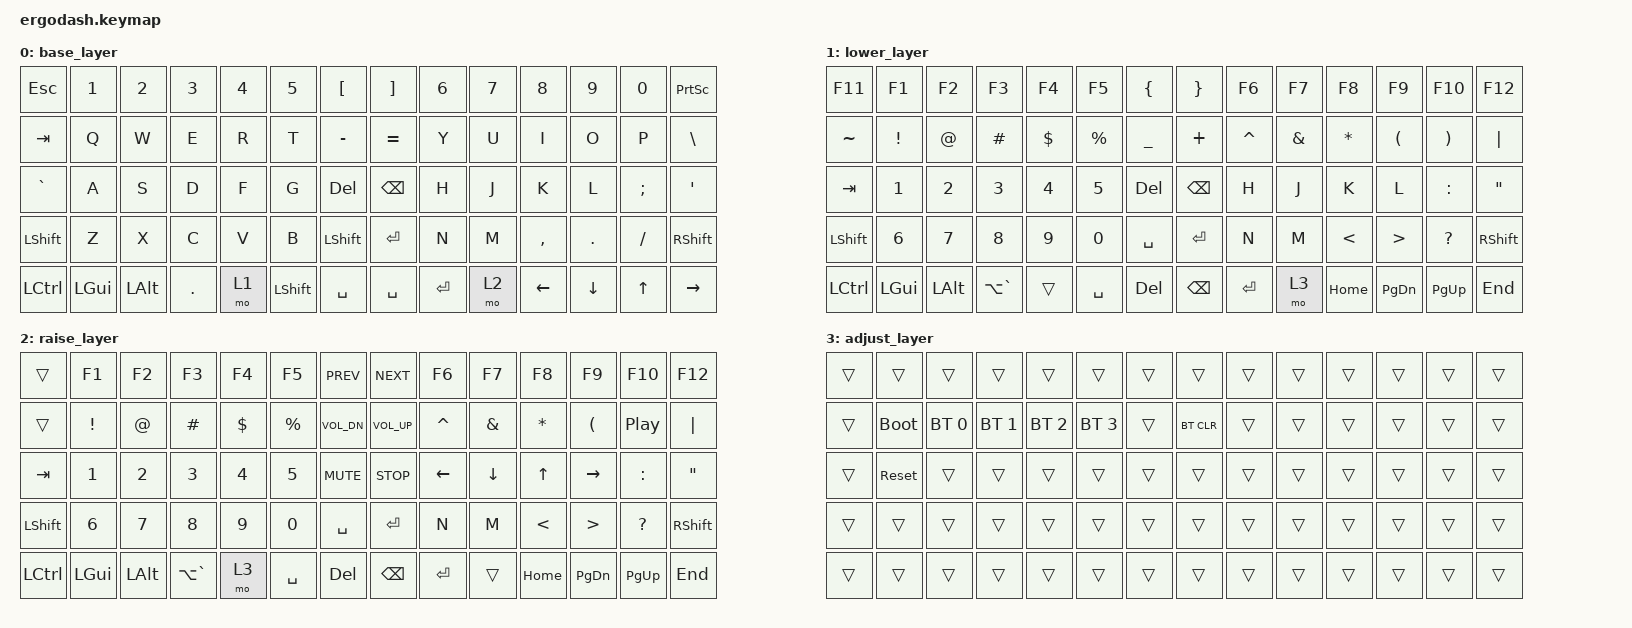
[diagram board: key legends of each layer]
/*
 * Ergodash (rev 1.2) ZMK keymap, converted from QMK keymap.c (LAYOUT_4key).
 * Each layer has 70 bindings in the same order as the QMK layout:
 * 5 rows of 14 (7 left | 7 right), read left to right, top to bottom.
 */

#include <behaviors.dtsi>
#include <dt-bindings/zmk/keys.h>
#include <dt-bindings/zmk/bt.h>

/ {
    keymap {
        compatible = "zmk,keymap";

        base_layer {
            bindings = <
&kp ESC     &kp N1    &kp N2    &kp N3    &kp N4  &kp N5     &kp LBKT       &kp RBKT   &kp N6  &kp N7  &kp N8     &kp N9   &kp N0    &kp PSCRN
&kp TAB     &kp Q     &kp W     &kp E     &kp R   &kp T      &kp MINUS      &kp EQUAL  &kp Y   &kp U   &kp I      &kp O    &kp P     &kp BSLH
&kp GRAVE   &kp A     &kp S     &kp D     &kp F   &kp G      &kp DEL        &kp BSPC   &kp H   &kp J   &kp K      &kp L    &kp SEMI  &kp SQT
&kp LSHFT   &kp Z     &kp X     &kp C     &kp V   &kp B      &kp LSHFT      &kp RET    &kp N   &kp M   &kp COMMA  &kp DOT  &kp FSLH  &kp RSHFT
&kp LCTRL   &kp LGUI  &kp LALT  &kp DOT   &mo 1   &kp LSHFT  &kp SPACE      &kp SPACE  &kp RET &mo 2   &kp LEFT   &kp DOWN &kp UP    &kp RIGHT
            >;
        };

        lower_layer {
            bindings = <
&kp F11     &kp F1     &kp F2    &kp F3    &kp F4    &kp F5     &kp LBRC       &kp RBRC   &kp F6     &kp F7     &kp F8     &kp F9     &kp F10    &kp F12
&kp TILDE   &kp EXCL   &kp AT    &kp HASH  &kp DLLR  &kp PRCNT  &kp UNDER      &kp PLUS   &kp CARET  &kp AMPS   &kp ASTRK  &kp LPAR   &kp RPAR   &kp PIPE
&kp TAB     &kp N1     &kp N2    &kp N3    &kp N4    &kp N5     &kp DEL        &kp BSPC   &kp H      &kp J      &kp K      &kp L      &kp COLON  &kp DQT
&kp LSHFT   &kp N6     &kp N7    &kp N8    &kp N9    &kp N0     &kp SPACE      &kp RET    &kp N      &kp M      &kp LT     &kp GT     &kp QMARK  &kp RSHFT
&kp LCTRL   &kp LGUI   &kp LALT  &kp LA(GRAVE)  &trans  &kp SPACE  &kp DEL    &kp BSPC   &kp RET    &mo 3      &kp HOME   &kp PG_DN  &kp PG_UP  &kp END
            >;
        };

        raise_layer {
            bindings = <
&trans      &kp F1     &kp F2    &kp F3    &kp F4    &kp F5     &kp C_PREV     &kp C_NEXT &kp F6     &kp F7     &kp F8     &kp F9     &kp F10    &kp F12
&trans      &kp EXCL   &kp AT    &kp HASH  &kp DLLR  &kp PRCNT  &kp C_VOL_DN   &kp C_VOL_UP &kp CARET &kp AMPS   &kp ASTRK  &kp LPAR   &kp C_PP   &kp PIPE
&kp TAB     &kp N1     &kp N2    &kp N3    &kp N4    &kp N5     &kp C_MUTE     &kp C_STOP &kp LEFT   &kp DOWN   &kp UP     &kp RIGHT  &kp COLON  &kp DQT
&kp LSHFT   &kp N6     &kp N7    &kp N8    &kp N9    &kp N0     &kp SPACE      &kp RET    &kp N      &kp M      &kp LT     &kp GT     &kp QMARK  &kp RSHFT
&kp LCTRL   &kp LGUI   &kp LALT  &kp LA(GRAVE)  &mo 3  &kp SPACE  &kp DEL      &kp BSPC   &kp RET    &trans     &kp HOME   &kp PG_DN  &kp PG_UP  &kp END
            >;
        };

        adjust_layer {
            // QMK had bootloader + RGB underglow + backlight keys here.
            // Replaced with bootloader + Bluetooth profile controls (RGB/backlight omitted).
            bindings = <
&trans  &trans        &trans         &trans         &trans         &trans         &trans        &trans        &trans  &trans  &trans  &trans  &trans  &trans
&trans  &bootloader   &bt BT_SEL 0   &bt BT_SEL 1   &bt BT_SEL 2   &bt BT_SEL 3   &trans        &bt BT_CLR    &trans  &trans  &trans  &trans  &trans  &trans
&trans  &sys_reset    &trans         &trans         &trans         &trans         &trans        &trans        &trans  &trans  &trans  &trans  &trans  &trans
&trans  &trans        &trans         &trans         &trans         &trans         &trans        &trans        &trans  &trans  &trans  &trans  &trans  &trans
&trans  &trans        &trans         &trans         &trans         &trans         &trans        &trans        &trans  &trans  &trans  &trans  &trans  &trans
            >;
        };
    };
};
